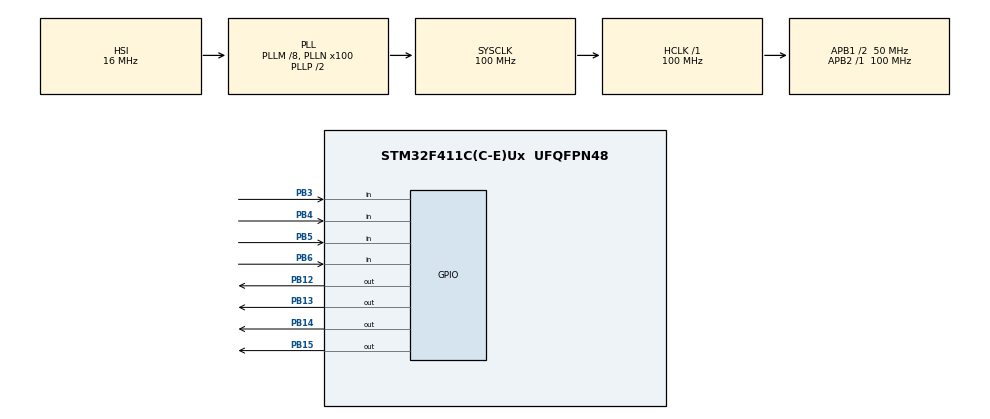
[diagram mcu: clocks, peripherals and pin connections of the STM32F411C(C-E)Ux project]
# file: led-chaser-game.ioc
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Mcu.Family=STM32F4
RCC.CortexFreq_Value=100000000
PB6.GPIO_PuPd=GPIO_PULLDOWN
VP_SYS_VS_tim5.Mode=TIM5
RCC.APB1CLKDivider=RCC_HCLK_DIV2
PB15.Signal=GPIO_Output
PB13.Signal=GPIO_Output
RCC.SYSCLKSource=RCC_SYSCLKSOURCE_PLLCLK
ProjectManager.StackSize=0x400
ProjectManager.TargetToolchain=STM32CubeIDE
NVIC.TIM5_IRQn=true\:0\:0\:false\:false\:true\:false\:true
RCC.HCLKFreq_Value=100000000
RCC.APB2TimFreq_Value=100000000
PB6.Signal=GPIO_Input
PB4.GPIO_PuPd=GPIO_PULLDOWN
RCC.LSE_VALUE=32768
RCC.AHBFreq_Value=100000000
PB14.Signal=GPIO_Output
RCC.HSE_VALUE=25000000
board=custom
RCC.VCOOutputFreq_Value=200000000
RCC.APB2Freq_Value=100000000
PB3.GPIO_PuPd=GPIO_PULLDOWN
Mcu.Name=STM32F411C(C-E)Ux
RCC.48MHZClocksFreq_Value=50000000
PB3.Signal=GPIO_Input
RCC.SYSCLKFreq_VALUE=100000000
Mcu.Package=UFQFPN48
PB5.Signal=GPIO_Input
NVIC.TimeBase=TIM5_IRQn
PB5.GPIO_PuPd=GPIO_PULLDOWN
NVIC.TimeBaseIP=TIM5
ProjectManager.HeapSize=0x200
RCC.HSI_VALUE=16000000
NVIC.PriorityGroup=NVIC_PRIORITYGROUP_4
RCC.PLLM=8
RCC.PLLN=100
RCC.APB1TimFreq_Value=100000000
PB12.GPIO_PuPd=GPIO_NOPULL
RCC.APB1Freq_Value=50000000
PB12.Signal=GPIO_Output
PB4.Signal=GPIO_Input

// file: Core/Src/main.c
/* USER CODE BEGIN Header */
/**
  ******************************************************************************
  * @file           : main.c
  * @brief          : Main program body
  ******************************************************************************
  * @attention
  *
  * <h2><center>&copy; Copyright (c) 2021 STMicroelectronics.
  * All rights reserved.</center></h2>
  *
  * This software component is licensed by ST under BSD 3-Clause license,
  * the "License"; You may not use this file except in compliance with the
  * License. You may obtain a copy of the License at:
  *                        opensource.org/licenses/BSD-3-Clause
  *
  ******************************************************************************
  */
/* USER CODE END Header */
#include "main.h"

void SystemClock_Config(void);
static void MX_GPIO_Init(void);

/* USER CODE BEGIN 0 */

#define DWT_CTRL				(*(volatile uint32_t*) 0xE0001000)
#define N_BUTTONS 			(4)

TaskHandle_t button_task_handle = NULL;
TaskHandle_t control_led_task_handle = NULL;

QueueHandle_t event_q_handle;

Button b1;

Button button[N_BUTTONS];

Button_Event button_event = {0};

void read_button_task(void *params);
void control_led_task(void *params);

extern void SEGGER_UART_init(uint32_t);

/* USER CODE END 0 */

int main(void)
{

  /* MCU Configuration--------------------------------------------------------*/

  /* Reset of all peripherals, Initializes the Flash interface and the Systick. */
  HAL_Init();

  /* Configure the system clock */
  SystemClock_Config();

  /* Initialize all configured peripherals */
  MX_GPIO_Init();
  /* USER CODE BEGIN 2 */

	DWT_CTRL |= (1 << 0);

	SEGGER_UART_init(500000);
	SEGGER_SYSVIEW_Conf();

  BaseType_t status;
  status = xTaskCreate(read_button_task, "Button Task", 200, NULL, 2, &button_task_handle);
  configASSERT(status == pdPASS);

  status = xTaskCreate(control_led_task, "Led control task", 200, NULL, 1, &control_led_task_handle);
  configASSERT(status == pdPASS);

  event_q_handle = xQueueCreate(10, sizeof(Button_Event));
  configASSERT(event_q_handle != 0);

  button_init(&b1, GPIOB, GPIO_PIN_3);
//  for (uint8_t i = 0; i < N_BUTTONS; ++i) {
//  	button_init(&button[i], GPIOB, GPIO_PIN_0);
//  }
  button_init(&button[0], GPIOB, GPIO_PIN_3);
  button_init(&button[1], GPIOB, GPIO_PIN_4);
  button_init(&button[2], GPIOB, GPIO_PIN_5);
  button_init(&button[3], GPIOB, GPIO_PIN_6);

  button_event_init(&button_event, 0, BUTTON_STATE_IDLE);

  vTaskStartScheduler();
  /* USER CODE END 2 */

  /* Infinite loop */
  while (1)
  {

  }
}

void SystemClock_Config(void)
{
  RCC_OscInitTypeDef RCC_OscInitStruct = {0};
  RCC_ClkInitTypeDef RCC_ClkInitStruct = {0};

  /** Configure the main internal regulator output voltage
  */
  __HAL_RCC_PWR_CLK_ENABLE();
  __HAL_PWR_VOLTAGESCALING_CONFIG(PWR_REGULATOR_VOLTAGE_SCALE1);
  /** Initializes the RCC Oscillators according to the specified parameters
  * in the RCC_OscInitTypeDef structure.
  */
  RCC_OscInitStruct.OscillatorType = RCC_OSCILLATORTYPE_HSI;
  RCC_OscInitStruct.HSIState = RCC_HSI_ON;
  RCC_OscInitStruct.HSICalibrationValue = RCC_HSICALIBRATION_DEFAULT;
  RCC_OscInitStruct.PLL.PLLState = RCC_PLL_ON;
  RCC_OscInitStruct.PLL.PLLSource = RCC_PLLSOURCE_HSI;
  RCC_OscInitStruct.PLL.PLLM = 8;
  RCC_OscInitStruct.PLL.PLLN = 100;
  RCC_OscInitStruct.PLL.PLLP = RCC_PLLP_DIV2;
  RCC_OscInitStruct.PLL.PLLQ = 4;
  if (HAL_RCC_OscConfig(&RCC_OscInitStruct) != HAL_OK)
  {
    Error_Handler();
  }
  /** Initializes the CPU, AHB and APB buses clocks
  */
  RCC_ClkInitStruct.ClockType = RCC_CLOCKTYPE_HCLK|RCC_CLOCKTYPE_SYSCLK
                              |RCC_CLOCKTYPE_PCLK1|RCC_CLOCKTYPE_PCLK2;
  RCC_ClkInitStruct.SYSCLKSource = RCC_SYSCLKSOURCE_PLLCLK;
  RCC_ClkInitStruct.AHBCLKDivider = RCC_SYSCLK_DIV1;
  RCC_ClkInitStruct.APB1CLKDivider = RCC_HCLK_DIV2;
  RCC_ClkInitStruct.APB2CLKDivider = RCC_HCLK_DIV1;

  if (HAL_RCC_ClockConfig(&RCC_ClkInitStruct, FLASH_LATENCY_3) != HAL_OK)
  {
    Error_Handler();
  }
}

static void MX_GPIO_Init(void)
{
  GPIO_InitTypeDef GPIO_InitStruct = {0};

  /* GPIO Ports Clock Enable */
  __HAL_RCC_GPIOB_CLK_ENABLE();

  /*Configure GPIO pin Output Level */
  HAL_GPIO_WritePin(GPIOB, GPIO_PIN_12|GPIO_PIN_13|GPIO_PIN_14|GPIO_PIN_15, GPIO_PIN_RESET);

  /*Configure GPIO pins : PB12 PB13 PB14 PB15 */
  GPIO_InitStruct.Pin = GPIO_PIN_12|GPIO_PIN_13|GPIO_PIN_14|GPIO_PIN_15;
  GPIO_InitStruct.Mode = GPIO_MODE_OUTPUT_PP;
  GPIO_InitStruct.Pull = GPIO_NOPULL;
  GPIO_InitStruct.Speed = GPIO_SPEED_FREQ_LOW;
  HAL_GPIO_Init(GPIOB, &GPIO_InitStruct);

  /*Configure GPIO pins : PB3 PB4 PB5 PB6 */
  GPIO_InitStruct.Pin = GPIO_PIN_3|GPIO_PIN_4|GPIO_PIN_5|GPIO_PIN_6;
  GPIO_InitStruct.Mode = GPIO_MODE_INPUT;
  GPIO_InitStruct.Pull = GPIO_PULLDOWN;
  HAL_GPIO_Init(GPIOB, &GPIO_InitStruct);

}

/* USER CODE BEGIN 4 */

uint16_t static read_gpio_port(GPIO_TypeDef* GPIOx) {
	return GPIOx->IDR & 0xFFFF;
}

void static decode_buttons(Button button[], uint8_t n_buttons, uint16_t port_val) {
	uint8_t i = 0;
	uint8_t btn_port_val = (uint8_t) (port_val & 0x78);
	while (i < n_buttons) {
		button_set_state(&button[i], (btn_port_val >> (i + 3)) & 1);				// extract the value of bits which are associated with buttons
		if (button_is_state_changed(&button[i]) == true) {
			button_event.id = i;
			button_event.state = button[i].state;
			xQueueSend(event_q_handle, &button_event, 0);
		}
		i++;
	}
}

void read_button_task(void *params) {
	TickType_t last_wake_time;
	last_wake_time = xTaskGetTickCount();

	while (1) {
		decode_buttons(button, N_BUTTONS, read_gpio_port(GPIOB));
//		button_set_state(&b1, HAL_GPIO_ReadPin(b1.port, b1.pin));
//		if (button_is_released(&b1)) {
//			xTaskNotify(control_led_task_handle, 0, eNoAction);
//		}
		vTaskDelayUntil(&last_wake_time, pdMS_TO_TICKS(5));
	}
}

void control_led_task(void *params) {
//	uint16_t led_arr[] = {GPIO_PIN_12, GPIO_PIN_13, GPIO_PIN_14, GPIO_PIN_15};
//	uint8_t cnt = 0;
	Button_Event received_event;
	while (1) {
//		if (xTaskNotifyWait(0, 0, NULL, portMAX_DELAY) == pdPASS) {
//			HAL_GPIO_TogglePin(GPIOB, led_arr[cnt % 4]);
//			cnt++;
//		}
		if (xQueueReceive(event_q_handle, &received_event, portMAX_DELAY) == pdTRUE) {
			switch (received_event.id) {
				case 0:
					if (received_event.state == BUTTON_STATE_RELEASED) {
						HAL_GPIO_TogglePin(GPIOB, GPIO_PIN_12);
					}
//					HAL_GPIO_TogglePin(GPIOB, GPIO_PIN_12);
					break;
				case 1:
					if (received_event.state == BUTTON_STATE_RELEASED) {
						HAL_GPIO_TogglePin(GPIOB, GPIO_PIN_13);
					}
//					HAL_GPIO_TogglePin(GPIOB, GPIO_PIN_13);
					break;
				case 2:
					if (received_event.state == BUTTON_STATE_RELEASED) {
						HAL_GPIO_TogglePin(GPIOB, GPIO_PIN_14);
					}
//					HAL_GPIO_TogglePin(GPIOB, GPIO_PIN_14);
					break;
				case 3:
					if (received_event.state == BUTTON_STATE_RELEASED) {
						HAL_GPIO_TogglePin(GPIOB, GPIO_PIN_15);
					}
//					HAL_GPIO_TogglePin(GPIOB, GPIO_PIN_15);
					break;
				default:
					break;
			}
		}
	}
}
/* USER CODE END 4 */

 /**
  * @brief  Period elapsed callback in non blocking mode
  * @note   This function is called  when TIM5 interrupt took place, inside
  * HAL_TIM_IRQHandler(). It makes a direct call to HAL_IncTick() to increment
  * a global variable "uwTick" used as application time base.
  * @param  htim : TIM handle
  * @retval None
  */
void HAL_TIM_PeriodElapsedCallback(TIM_HandleTypeDef *htim)
{
  if (htim->Instance == TIM5) {
    HAL_IncTick();
  }
}

void Error_Handler(void)
{
  __disable_irq();
  while (1)
  {
  }
}

/************************ (C) COPYRIGHT STMicroelectronics *****END OF FILE****/
